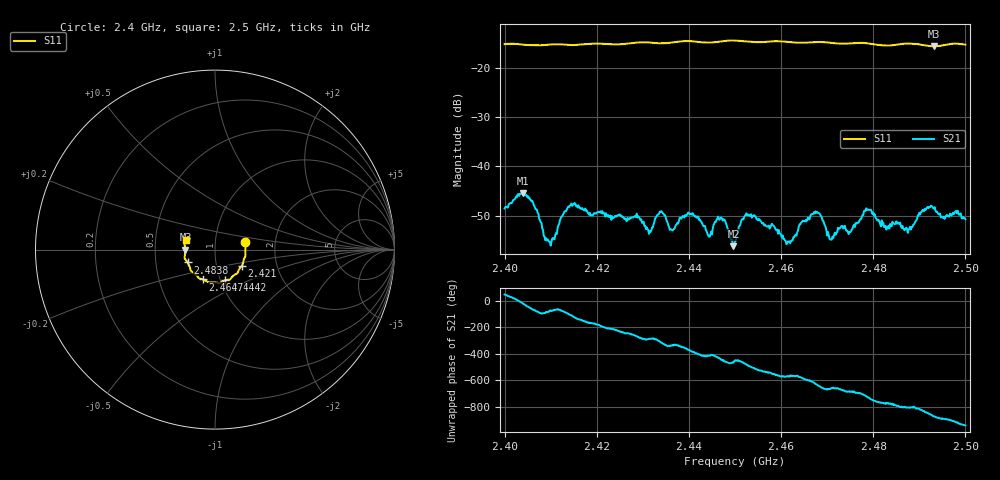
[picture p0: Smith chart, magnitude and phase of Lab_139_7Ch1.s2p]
# Hz S RI R 50
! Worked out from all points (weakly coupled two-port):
!   601 points, 2.4 GHz to 2.5 GHz, reference 50 ohm
!   highest |S21| = -45.49 dB at 2.404 GHz (marker M1); lowest = -56.2 dB at 2.4497 GHz (marker M2)
!   lowest |S11| = -15.6 dB at 2.4932 GHz (marker M3), VSWR 1.40, Z = 35.8 - j0.0905 ohm
!   |S11| at or under -10 dB: start of sweep to end of sweep
!   S12 and S22 are empty: the file has one direction only
!   S11 on the Smith chart (normalised r, x): 2.4 GHz: 1.40, +0.12; 2.421 GHz: 1.33, -0.24; 2.4442 GHz: 1.05, -0.37; 2.4647 GHz: 0.83, -0.28; 2.4838 GHz: 0.73, -0.11; 2.5 GHz: 0.72, +0.08
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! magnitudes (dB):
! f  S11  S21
! 2.4 GHz  -15.2  -48.6
! 2.404 GHz  -15.3  -45.5
! 2.4097 GHz  -15.3  -55.3
! 2.414 GHz  -15.4  -48.3
! 2.4167 GHz  -15.3  -48.7
! 2.421 GHz  -15.1  -49.5
! 2.4313 GHz  -14.9  -53.7
! 2.4333 GHz  -15.0  -49.8
! 2.4442 GHz  -14.9  -54.0
! 2.4473 GHz  -14.6  -51.0
! 2.4497 GHz  -14.5  -56.2
! 2.45 GHz  -14.5  -55.3
! 2.4525 GHz  -14.7  -49.5
! 2.4615 GHz  -14.8  -55.3
! 2.4647 GHz  -14.9  -51.1
! 2.4667 GHz  -14.8  -49.7
! 2.4708 GHz  -14.9  -54.9
! 2.4787 GHz  -15.0  -48.8
! 2.4833 GHz  -15.5  -52.1
! 2.4838 GHz  -15.5  -52.1
! 2.4932 GHz  -15.6  -48.6
! 2.5 GHz  -15.3  -50.7
